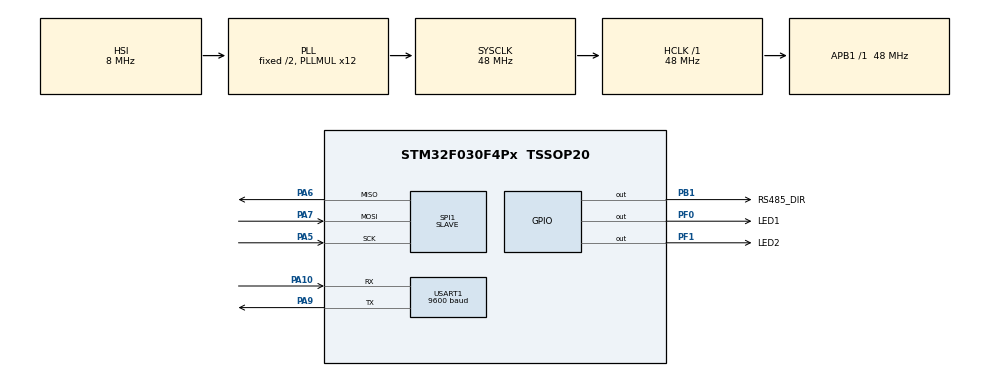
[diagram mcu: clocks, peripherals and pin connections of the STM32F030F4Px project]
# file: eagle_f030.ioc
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Mcu.Family=STM32F0
Mcu.Name=STM32F030F4Px
Mcu.Package=TSSOP20
NVIC.SPI1_IRQn=true\:0\:0\:false\:false\:true\:true\:true
PA10.Mode=Asynchronous
PA10.Signal=USART1_RX
PA13.Mode=Serial_Wire
PA13.Signal=SYS_SWDIO
PA14.Mode=Serial_Wire
PA14.Signal=SYS_SWCLK
PA5.Mode=Full_Duplex_Slave
PA5.Signal=SPI1_SCK
PA6.Mode=Full_Duplex_Slave
PA6.Signal=SPI1_MISO
PA7.Mode=Full_Duplex_Slave
PA7.Signal=SPI1_MOSI
PA9.Mode=Asynchronous
PA9.Signal=USART1_TX
PB1.GPIO_Label=RS485_DIR
PB1.Signal=GPIO_Output
PF0-OSC_IN.GPIO_Label=LED1
PF0-OSC_IN.Signal=GPIO_Output
PF1-OSC_OUT.GPIO_Label=LED2
PF1-OSC_OUT.Signal=GPIO_Output
ProjectManager.HeapSize=0x200
ProjectManager.StackSize=0x400
ProjectManager.TargetToolchain=STM32CubeIDE
RCC.AHBFreq_Value=48000000
RCC.APB1Freq_Value=48000000
RCC.APB1TimFreq_Value=48000000
RCC.HCLKFreq_Value=48000000
RCC.PLLMUL=RCC_PLL_MUL12
RCC.SYSCLKFreq_VALUE=48000000
RCC.SYSCLKSource=RCC_SYSCLKSOURCE_PLLCLK
SPI1.DataSize=SPI_DATASIZE_8BIT
SPI1.Direction=SPI_DIRECTION_2LINES
SPI1.Mode=SPI_MODE_SLAVE
SPI1.VirtualType=VM_SLAVE
USART1.BaudRate=9600
USART1.VirtualMode-Asynchronous=VM_ASYNC
board=custom

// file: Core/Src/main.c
/* USER CODE BEGIN Header */
/**
  ******************************************************************************
  * @file           : main.c
  * @brief          : Main program body
  ******************************************************************************
  * @attention
  *
  * <h2><center>&copy; Copyright (c) 2020 STMicroelectronics.
  * All rights reserved.</center></h2>
  *
  * This software component is licensed by ST under BSD 3-Clause license,
  * the "License"; You may not use this file except in compliance with the
  * License. You may obtain a copy of the License at:
  *                        opensource.org/licenses/BSD-3-Clause
  *
  ******************************************************************************
  */
/* USER CODE END Header */
#include "main.h"

SPI_HandleTypeDef hspi1;

UART_HandleTypeDef huart1;

void SystemClock_Config(void);
static void MX_GPIO_Init(void);
static void MX_SPI1_Init(void);
static void MX_USART1_UART_Init(void);

/* USER CODE BEGIN 0 */
uint8_t txdata[1] = {0xD1};
uint8_t rxdata[1];
/* USER CODE END 0 */

int main(void)
{

  /* MCU Configuration--------------------------------------------------------*/

  /* Reset of all peripherals, Initializes the Flash interface and the Systick. */
  HAL_Init();

  /* Configure the system clock */
  SystemClock_Config();

  /* Initialize all configured peripherals */
  MX_GPIO_Init();
  MX_SPI1_Init();
  MX_USART1_UART_Init();

  /* Infinite loop */
  /* USER CODE BEGIN WHILE */
	while (1) {

		HAL_SPI_Receive(&hspi1, (uint8_t*) rxdata, 1,1000);
		uint8_t message = rxdata[0];
		switch (message) {
		case SPI_LEFT:
			HAL_GPIO_WritePin(GPIOF, GPIO_PIN_0, SET);
			send(uart_LEFT, 230);
			break;
		case SPI_RIGHT:
			HAL_GPIO_WritePin(GPIOF, GPIO_PIN_0, SET);
			send(uart_RIGHT, 230);
			break;
		case SPI_STOP_LEFT_RIGHT:
	//		HAL_GPIO_WritePin(GPIOF, GPIO_PIN_0, SET);
			send(uart_RIGHT, 0);
			send(uart_RIGHT, 0);
			send(uart_LEFT, 0);
			send(uart_LEFT, 0);
			break;
		default:
			HAL_GPIO_WritePin(GPIOF, GPIO_PIN_0, RESET);
		}
		switch (message) {
		case SPI_UP:
			HAL_GPIO_WritePin(GPIOF, GPIO_PIN_0, SET);
			send(uart_UP, 230);
			break;
		case SPI_DOWN:
			HAL_GPIO_WritePin(GPIOF, GPIO_PIN_0, SET);
			send(uart_DOWN, 230);
			break;
		case SPI_STOP_UP_DOWN:
	//		HAL_GPIO_WritePin(GPIOF, GPIO_PIN_0, SET);
			send(uart_UP, 0);
			send(uart_UP, 0);
			send(uart_DOWN, 0);
			send(uart_DOWN, 0);
			break;
		default:
			HAL_GPIO_WritePin(GPIOF, GPIO_PIN_0, RESET);

		}

    /* USER CODE END WHILE */

  }
}

void SystemClock_Config(void)
{
  RCC_OscInitTypeDef RCC_OscInitStruct = {0};
  RCC_ClkInitTypeDef RCC_ClkInitStruct = {0};
  RCC_PeriphCLKInitTypeDef PeriphClkInit = {0};

  /** Initializes the RCC Oscillators according to the specified parameters
  * in the RCC_OscInitTypeDef structure.
  */
  RCC_OscInitStruct.OscillatorType = RCC_OSCILLATORTYPE_HSI;
  RCC_OscInitStruct.HSIState = RCC_HSI_ON;
  RCC_OscInitStruct.HSICalibrationValue = RCC_HSICALIBRATION_DEFAULT;
  RCC_OscInitStruct.PLL.PLLState = RCC_PLL_ON;
  RCC_OscInitStruct.PLL.PLLSource = RCC_PLLSOURCE_HSI;
  RCC_OscInitStruct.PLL.PLLMUL = RCC_PLL_MUL12;
  RCC_OscInitStruct.PLL.PREDIV = RCC_PREDIV_DIV1;
  if (HAL_RCC_OscConfig(&RCC_OscInitStruct) != HAL_OK)
  {
    Error_Handler();
  }
  /** Initializes the CPU, AHB and APB buses clocks
  */
  RCC_ClkInitStruct.ClockType = RCC_CLOCKTYPE_HCLK|RCC_CLOCKTYPE_SYSCLK
                              |RCC_CLOCKTYPE_PCLK1;
  RCC_ClkInitStruct.SYSCLKSource = RCC_SYSCLKSOURCE_PLLCLK;
  RCC_ClkInitStruct.AHBCLKDivider = RCC_SYSCLK_DIV1;
  RCC_ClkInitStruct.APB1CLKDivider = RCC_HCLK_DIV1;

  if (HAL_RCC_ClockConfig(&RCC_ClkInitStruct, FLASH_LATENCY_1) != HAL_OK)
  {
    Error_Handler();
  }
  PeriphClkInit.PeriphClockSelection = RCC_PERIPHCLK_USART1;
  PeriphClkInit.Usart1ClockSelection = RCC_USART1CLKSOURCE_PCLK1;
  if (HAL_RCCEx_PeriphCLKConfig(&PeriphClkInit) != HAL_OK)
  {
    Error_Handler();
  }
}

static void MX_SPI1_Init(void)
{

  /* SPI1 parameter configuration*/
  hspi1.Instance = SPI1;
  hspi1.Init.Mode = SPI_MODE_SLAVE;
  hspi1.Init.Direction = SPI_DIRECTION_2LINES;
  hspi1.Init.DataSize = SPI_DATASIZE_8BIT;
  hspi1.Init.CLKPolarity = SPI_POLARITY_LOW;
  hspi1.Init.CLKPhase = SPI_PHASE_1EDGE;
  hspi1.Init.NSS = SPI_NSS_SOFT;
  hspi1.Init.FirstBit = SPI_FIRSTBIT_MSB;
  hspi1.Init.TIMode = SPI_TIMODE_DISABLE;
  hspi1.Init.CRCCalculation = SPI_CRCCALCULATION_DISABLE;
  hspi1.Init.CRCPolynomial = 7;
  hspi1.Init.CRCLength = SPI_CRC_LENGTH_DATASIZE;
  hspi1.Init.NSSPMode = SPI_NSS_PULSE_DISABLE;
  if (HAL_SPI_Init(&hspi1) != HAL_OK)
  {
    Error_Handler();
  }

}

static void MX_USART1_UART_Init(void)
{

  huart1.Instance = USART1;
  huart1.Init.BaudRate = 9600;
  huart1.Init.WordLength = UART_WORDLENGTH_8B;
  huart1.Init.StopBits = UART_STOPBITS_1;
  huart1.Init.Parity = UART_PARITY_NONE;
  huart1.Init.Mode = UART_MODE_TX_RX;
  huart1.Init.HwFlowCtl = UART_HWCONTROL_NONE;
  huart1.Init.OverSampling = UART_OVERSAMPLING_16;
  huart1.Init.OneBitSampling = UART_ONE_BIT_SAMPLE_DISABLE;
  huart1.AdvancedInit.AdvFeatureInit = UART_ADVFEATURE_NO_INIT;
  if (HAL_UART_Init(&huart1) != HAL_OK)
  {
    Error_Handler();
  }

}

static void MX_GPIO_Init(void)
{
  GPIO_InitTypeDef GPIO_InitStruct = {0};

  /* GPIO Ports Clock Enable */
  __HAL_RCC_GPIOF_CLK_ENABLE();
  __HAL_RCC_GPIOA_CLK_ENABLE();
  __HAL_RCC_GPIOB_CLK_ENABLE();

  /*Configure GPIO pin Output Level */
  HAL_GPIO_WritePin(GPIOF, LED1_Pin|LED2_Pin, GPIO_PIN_RESET);

  /*Configure GPIO pin Output Level */
  HAL_GPIO_WritePin(RS485_DIR_GPIO_Port, RS485_DIR_Pin, GPIO_PIN_RESET);

  /*Configure GPIO pins : LED1_Pin LED2_Pin */
  GPIO_InitStruct.Pin = LED1_Pin|LED2_Pin;
  GPIO_InitStruct.Mode = GPIO_MODE_OUTPUT_PP;
  GPIO_InitStruct.Pull = GPIO_NOPULL;
  GPIO_InitStruct.Speed = GPIO_SPEED_FREQ_LOW;
  HAL_GPIO_Init(GPIOF, &GPIO_InitStruct);

  /*Configure GPIO pin : RS485_DIR_Pin */
  GPIO_InitStruct.Pin = RS485_DIR_Pin;
  GPIO_InitStruct.Mode = GPIO_MODE_OUTPUT_PP;
  GPIO_InitStruct.Pull = GPIO_NOPULL;
  GPIO_InitStruct.Speed = GPIO_SPEED_FREQ_LOW;
  HAL_GPIO_Init(RS485_DIR_GPIO_Port, &GPIO_InitStruct);

}

/* USER CODE BEGIN 4 */
void HAL_SPI_RxCpltCallback(SPI_HandleTypeDef *hspi){

}
/* USER CODE END 4 */

void Error_Handler(void)
{
}

/************************ (C) COPYRIGHT STMicroelectronics *****END OF FILE****/
